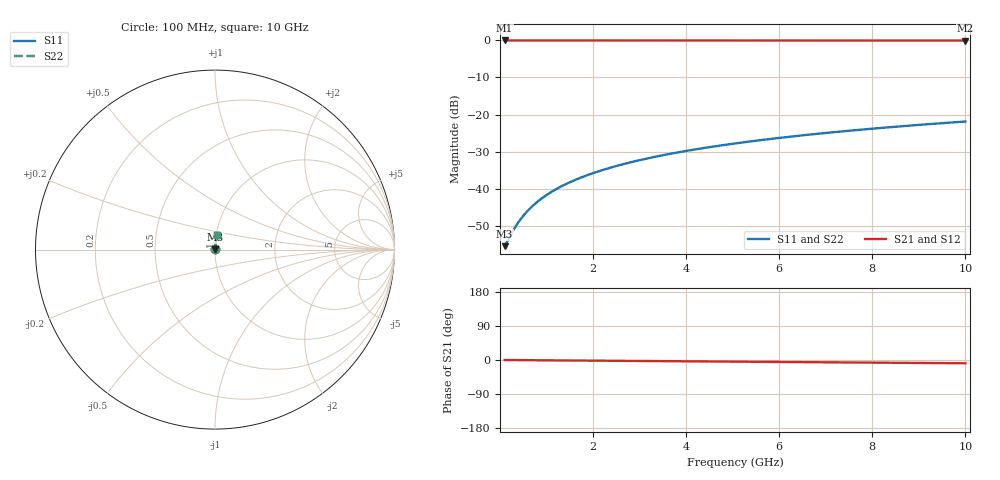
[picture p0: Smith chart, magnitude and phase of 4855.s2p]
# Hz S RI R 50.00
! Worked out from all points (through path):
!   100 points, 100 MHz to 10 GHz, reference 50 ohm
!   highest |S21| = -0.01 dB at 100 MHz (marker M1); lowest = 0.0 dB at 10 GHz (marker M2)
!   group delay of S21, straight-line fit = 2.4 ps
!   lowest |S11| = -55.5 dB at 100 MHz (marker M3), VSWR 1.00, Z = 50.1 + j0.0807 ohm
!   |S11| at or under -10 dB: start of sweep to end of sweep
!   |S22| runs from -55.5 to -21.9 dB; largest |S21 - S12| = 0
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1e8  0.00147 0.000805  0.9985 -0.0015  0.9985 -0.0015  0.00147 0.000805
3e8  0.0015 0.00241  0.9985 -0.00451  0.9985 -0.00451  0.0015 0.00241
4e8  0.00151 0.00322  0.9985 -0.00601  0.9985 -0.00601  0.00151 0.00322
5e8  0.00153 0.00402  0.9985 -0.00751  0.9985 -0.00751  0.00153 0.00402
6e8  0.00155 0.00483  0.9984 -0.00902  0.9984 -0.00902  0.00155 0.00483
7e8  0.00157 0.00563  0.9984 -0.0105  0.9984 -0.0105  0.00157 0.00563
8e8  0.00159 0.00644  0.9984 -0.012  0.9984 -0.012  0.00159 0.00644
9e8  0.00161 0.00724  0.9984 -0.0135  0.9984 -0.0135  0.00161 0.00724
1e9  0.00164 0.00805  0.9983 -0.015  0.9983 -0.015  0.00164 0.00805
1.2e9  0.0017 0.00965  0.9983 -0.018  0.9983 -0.018  0.0017 0.00965
1.5e9  0.0018 0.0121  0.9981 -0.0225  0.9981 -0.0225  0.0018 0.0121
1.8e9  0.00193 0.0145  0.998 -0.0271  0.998 -0.0271  0.00193 0.0145
2.1e9  0.00208 0.0169  0.9978 -0.0316  0.9978 -0.0316  0.00208 0.0169
2.5e9  0.00231 0.0201  0.9975 -0.0376  0.9975 -0.0376  0.00231 0.0201
2.9e9  0.00257 0.0233  0.9972 -0.0436  0.9972 -0.0436  0.00257 0.0233
3.4e9  0.00296 0.0273  0.9967 -0.0511  0.9967 -0.0511  0.00296 0.0273
4.2e9  0.00371 0.0337  0.9958 -0.0631  0.9958 -0.0631  0.00371 0.0337
5.1e9  0.00473 0.0409  0.9946 -0.0766  0.9946 -0.0766  0.00473 0.0409
5.9e9  0.00581 0.0472  0.9933 -0.0885  0.9933 -0.0885  0.00581 0.0472
6.7e9  0.00703 0.0536  0.9918 -0.1005  0.9918 -0.1005  0.00703 0.0536
8.4e9  0.0102 0.0669  0.9881 -0.1258  0.9881 -0.1258  0.0102 0.0669
1e10  0.0137 0.0794  0.9838 -0.1495  0.9838 -0.1495  0.0137 0.0794
